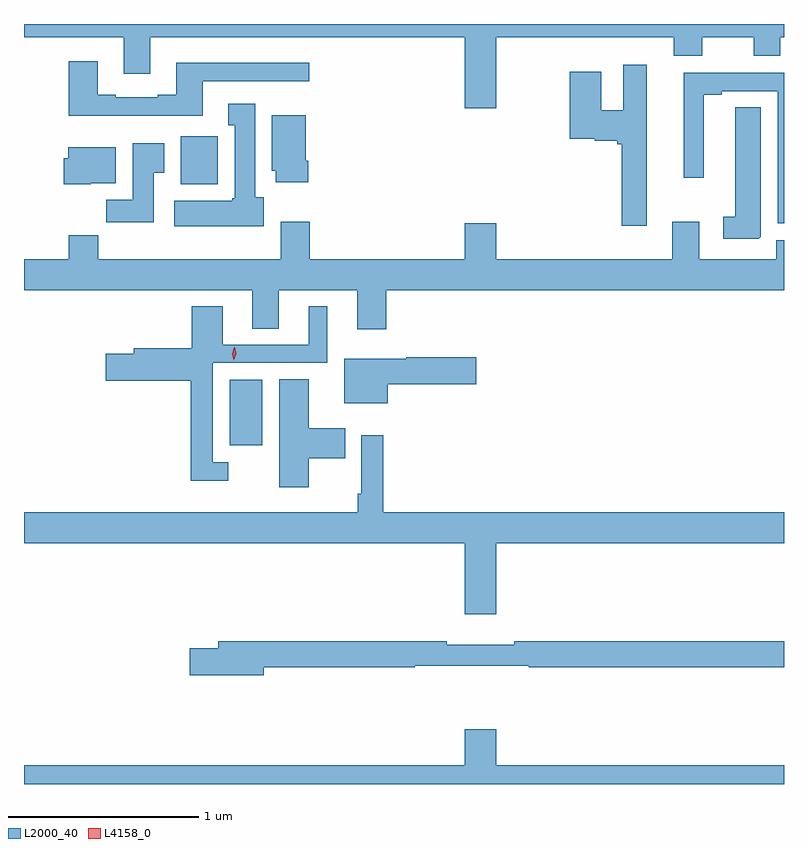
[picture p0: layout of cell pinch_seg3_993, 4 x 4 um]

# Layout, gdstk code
import gdstk
lib = gdstk.Library(unit=1e-6, precision=1e-09)
def R(c, l, rs):  # rectangles x0, y0, x1, y1
    for r in rs: c.add(gdstk.rectangle(r[:2], r[2:], *l))
def P(c, l, *ps):  # polygons
    for p in ps: c.add(gdstk.Polygon(p, *l))
L2000_40 = (2000, 40)
L4158_0 = (4158, 0)

pinch_seg3_993 = lib.new_cell('pinch_seg3_993')
R(pinch_seg3_993, L2000_40, [(463.469,693.44,463.642,693.784), (463.211,694.814,463.407,695.065)])
P(pinch_seg3_993, L2000_40, [(464.872,695.588),(465.806,695.588),(465.806,695.489),(465.958,695.489),(465.958,695.588),(466.229,695.588),(466.229,695.49),(466.368,695.49),(466.368,695.588),(466.387,695.588),(466.387,695.657),(462.387,695.657),(462.387,695.588),(462.911,695.588),(462.911,695.394),(463.051,695.394),(463.051,695.588),(464.708,695.588),(464.708,695.214),(464.872,695.214)],
  [(463.327,695.355),(463.888,695.355),(463.888,695.452),(463.187,695.452),(463.187,695.284),(463.091,695.284),(463.091,695.271),(462.871,695.271),(462.871,695.284),(462.775,695.284),(462.775,695.461),(462.623,695.461),(462.623,695.174),(463.327,695.174)],
  [(465.664,695.443),(465.542,695.443),(465.542,695.202),(465.424,695.202),(465.424,695.407),(465.259,695.407),(465.259,695.054),(465.39,695.054),(465.39,695.042),(465.51,695.042),(465.51,695.024),(465.533,695.024),(465.533,694.596),(465.664,694.596)],
  [(466.387,695.4),(465.86,695.4),(465.86,694.848),(465.964,694.848),(465.964,695.284),(466.06,695.284),(466.06,695.304),(466.353,695.304),(466.353,694.608),(466.387,694.608)],
  [(463.648,694.746),(463.603,694.746),(463.603,695.236),(463.463,695.236),(463.463,695.123),(463.496,695.123),(463.496,694.74),(463.483,694.74),(463.483,694.726),(463.179,694.726),(463.179,694.592),(463.648,694.592)],
  [(466.264,694.537),(466.264,695.219),(466.13,695.219),(466.13,694.643),(466.068,694.643),(466.068,694.527),(466.254,694.527)],
  [(463.883,694.936),(463.87,694.936),(463.87,695.176),(463.691,695.176),(463.691,694.884),(463.712,694.884),(463.712,694.824),(463.883,694.824)],
  [(463.069,694.873),(463.126,694.873),(463.126,695.029),(462.959,695.029),(462.959,694.732),(462.82,694.732),(462.82,694.614),(463.069,694.614)],
  [(462.738,694.82),(462.871,694.82),(462.871,695.008),(462.62,695.008),(462.62,694.95),(462.595,694.95),(462.595,694.814),(462.738,694.814)],
  [(464.294,694.256),(466.387,694.256),(466.387,694.518),(466.346,694.518),(466.346,694.42),(465.94,694.42),(465.94,694.615),(465.8,694.615),(465.8,694.42),(464.872,694.42),(464.872,694.609),(464.708,694.609),(464.708,694.42),(463.892,694.42),(463.892,694.615),(463.739,694.615),(463.739,694.42),(462.779,694.42),(462.779,694.544),(462.623,694.544),(462.623,694.42),(462.387,694.42),(462.387,694.256),(463.589,694.256),(463.589,694.054),(463.729,694.054),(463.729,694.256),(464.141,694.256),(464.141,694.05),(464.294,694.05)],
  [(463.462,693.351),(463.38,693.351),(463.38,693.873),(463.984,693.873),(463.984,694.171),(463.886,694.171),(463.886,693.969),(463.432,693.969),(463.432,694.171),(463.271,694.171),(463.271,693.951),(462.965,693.951),(462.965,693.921),(462.816,693.921),(462.816,693.779),(463.264,693.779),(463.264,693.254),(463.462,693.254)],
  [(464.302,693.761),(464.767,693.761),(464.767,693.903),(464.398,693.903),(464.398,693.895),(464.072,693.895),(464.072,693.662),(464.302,693.662)],
  [(463.885,693.371),(464.078,693.371),(464.078,693.529),(463.885,693.529),(463.885,693.788),(463.73,693.788),(463.73,693.219),(463.885,693.219)],
  [(464.872,692.924),(466.387,692.924),(466.387,693.088),(464.279,693.088),(464.279,693.493),(464.163,693.493),(464.163,693.184),(464.143,693.184),(464.143,693.088),(462.387,693.088),(462.387,692.924),(464.708,692.924),(464.708,692.55),(464.872,692.55)],
  [(463.648,692.272),(464.444,692.272),(464.444,692.28),(465.044,692.28),(465.044,692.272),(466.387,692.272),(466.387,692.408),(464.968,692.408),(464.968,692.389),(464.612,692.389),(464.612,692.408),(463.409,692.408),(463.409,692.372),(463.26,692.372),(463.26,692.23),(463.648,692.23)],
  [(466.387,691.756),(464.872,691.756),(464.872,691.945),(464.708,691.945),(464.708,691.756),(462.387,691.756),(462.387,691.657),(466.387,691.657)])
P(pinch_seg3_993, L4158_0, [(463.491,693.886),(463.491,693.886),(463.483,693.922),(463.494,693.957),(463.495,693.957),(463.495,693.957),(463.503,693.921),(463.492,693.886)])

lib.write_gds('pinch_seg3_993.gds')
